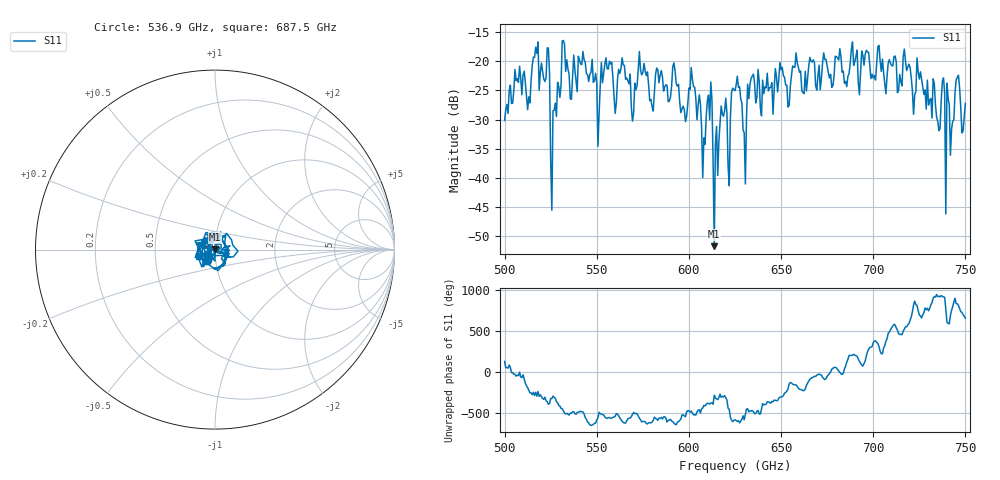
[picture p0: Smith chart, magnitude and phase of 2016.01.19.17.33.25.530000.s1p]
!Created with skrf (http://scikit-rf.org).
# GHz S RI R 50.0
!freq ReS11 ImS11
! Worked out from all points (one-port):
!   401 points, 500 GHz to 750 GHz, reference 50 ohm
!   lowest |S11| = -51.7 dB at 613.8 GHz (marker M1), VSWR 1.01, Z = 50.1 + j0.254 ohm
!   |S11| at or under -10 dB: start of sweep to end of sweep
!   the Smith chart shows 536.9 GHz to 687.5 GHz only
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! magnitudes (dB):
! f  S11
! 500 GHz  -30.1
! 506.9 GHz  -23.0
! 513.1 GHz  -26.1
! 516.9 GHz  -17.6
! 523.1 GHz  -17.7
! 526.2 GHz  -28.5
! 531.2 GHz  -16.5
! 550.6 GHz  -34.6
! 562.5 GHz  -22.1
! 570 GHz  -28.9
! 574.4 GHz  -22.3
! 580 GHz  -27.8
! 593.8 GHz  -24.3
! 602.5 GHz  -24.3
! 608.1 GHz  -33.1
! 611.2 GHz  -30.0
! 613.8 GHz  -51.7
! 618.8 GHz  -29.4
! 621.9 GHz  -41.3
! 625 GHz  -25.0
! 630 GHz  -32.3
! 634.4 GHz  -22.6
! 656.2 GHz  -20.8
! 687.5 GHz  -20.4
! 718.8 GHz  -21.0
! 740.6 GHz  -26.4
! 745.6 GHz  -22.8
! 750 GHz  -27.2
